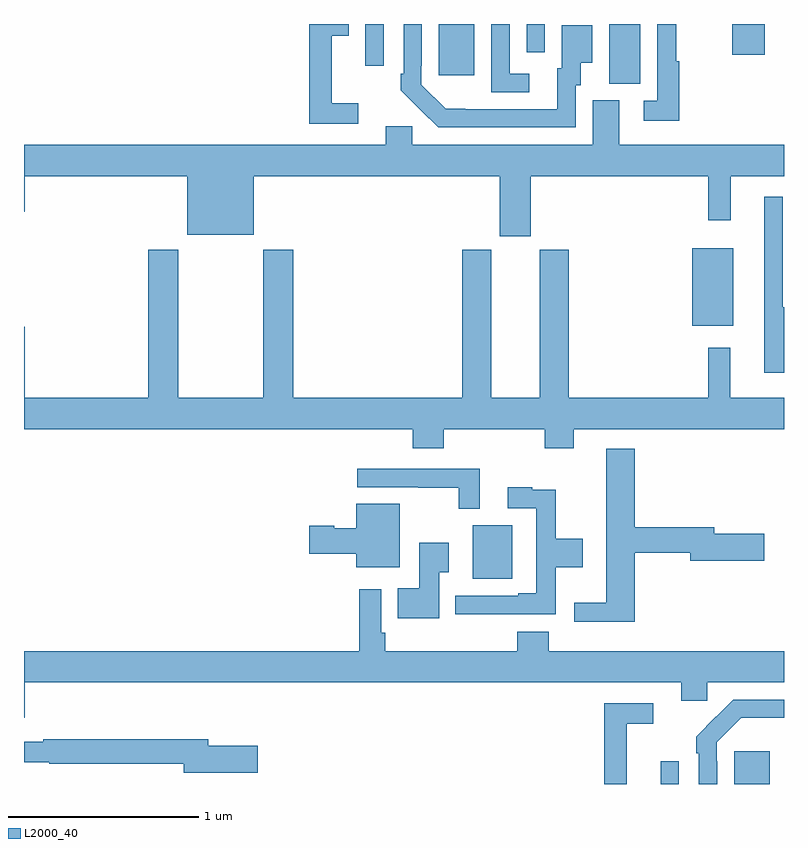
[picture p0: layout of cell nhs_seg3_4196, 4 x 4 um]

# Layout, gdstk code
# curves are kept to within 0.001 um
import gdstk
lib = gdstk.Library(unit=1e-6, precision=1e-09)
def R(c, l, rs):  # rectangles x0, y0, x1, y1
    for r in rs: c.add(gdstk.rectangle(r[:2], r[2:], *l))
def P(c, l, *ps):  # polygons
    for p in ps: c.add(gdstk.Polygon(p, *l))
L2000_40 = (2000, 40)

nhs_seg3_4196 = lib.new_cell('nhs_seg3_4196')
R(nhs_seg3_4196, L2000_40, [(336.351,680.4,336.447,680.521), (336.737,680.4,336.925,680.572), (335.363,681.479,335.569,681.763), (336.518,682.811,336.733,683.221), (336.08,684.085,336.244,684.4), (335.183,684.129,335.371,684.4), (334.797,684.18,334.893,684.4), (336.728,684.237,336.899,684.4), (335.646,684.252,335.742,684.4)])
P(nhs_seg3_4196, L2000_40, [(335.904,684.078),(335.929,684.078),(335.929,684.197),(335.992,684.197),(335.992,684.394),(335.831,684.394),(335.831,684.168),(335.807,684.168),(335.807,683.952),(335.22,683.953),(335.091,684.081),(335.091,684.181),(335.094,684.181),(335.094,684.4),(334.998,684.4),(334.998,684.139),(334.983,684.139),(334.983,684.051),(335.18,683.856),(335.904,683.856)],
  [(334.759,683.983),(334.619,683.983),(334.619,684.338),(334.708,684.338),(334.708,684.4),(334.501,684.4),(334.501,683.874),(334.759,683.874)],
  [(336.449,684.204),(336.434,684.204),(336.434,684.4),(336.333,684.4),(336.333,683.997),(336.261,683.997),(336.261,683.892),(336.449,683.892)],
  [(335.659,684.138),(335.556,684.138),(335.556,684.4),(335.46,684.4),(335.46,684.042),(335.659,684.042)],
  [(335.668,683.6),(336.601,683.6),(336.601,683.367),(336.719,683.367),(336.719,683.6),(337,683.6),(337,683.764),(336.133,683.764),(336.133,684),(335.993,684),(335.993,683.764),(335.043,683.764),(335.043,683.862),(334.904,683.862),(334.904,683.764),(333,683.764),(333,683.412),(333.004,683.412),(333.004,683.6),(333.86,683.6),(333.86,683.291),(334.21,683.291),(334.21,683.6),(335.504,683.6),(335.504,683.283),(335.668,683.283)],
  [(337,682.909),(336.993,682.909),(336.993,683.491),(336.896,683.491),(336.896,682.565),(337,682.565)],
  [(335.21,682.268),(335.741,682.268),(335.741,682.166),(335.893,682.166),(335.893,682.268),(337,682.268),(337,682.432),(336.718,682.432),(336.718,682.696),(336.601,682.696),(336.601,682.432),(335.867,682.432),(335.867,683.211),(335.714,683.211),(335.714,682.432),(335.458,682.432),(335.458,683.211),(335.306,683.211),(335.306,682.432),(334.418,682.432),(334.418,683.212),(334.258,683.212),(334.258,682.432),(333.813,682.432),(333.813,683.212),(333.653,683.212),(333.653,682.432),(333.004,682.432),(333.004,682.807),(333,682.807),(333,682.268),(335.045,682.268),(335.045,682.166),(335.21,682.166)],
  [(336.215,681.616),(336.506,681.616),(336.506,681.574),(336.895,681.574),(336.895,681.716),(336.634,681.716),(336.634,681.752),(336.215,681.752),(336.215,682.165),(336.065,682.165),(336.065,681.353),(335.895,681.353),(335.895,681.254),(336.215,681.254)],
  [(335.398,682.059),(334.755,682.059),(334.755,681.963),(335.074,681.963),(335.074,681.958),(335.289,681.958),(335.289,681.848),(335.398,681.848)],
  [(335.513,681.294),(335.798,681.294),(335.798,681.542),(335.941,681.542),(335.941,681.69),(335.798,681.69),(335.798,681.95),(335.675,681.95),(335.675,681.961),(335.547,681.961),(335.547,681.852),(335.697,681.852),(335.697,681.403),(335.6,681.403),(335.6,681.39),(335.271,681.39),(335.271,681.293),(335.513,681.293)],
  [(334.978,681.874),(334.748,681.874),(334.748,681.745),(334.632,681.745),(334.632,681.758),(334.5,681.758),(334.5,681.611),(334.748,681.611),(334.748,681.542),(334.978,681.542)],
  [(335.185,681.514),(335.236,681.514),(335.236,681.67),(335.081,681.67),(335.081,681.43),(334.966,681.43),(334.966,681.272),(335.185,681.272)],
  [(333.004,680.936),(336.458,680.936),(336.458,680.838),(336.597,680.838),(336.597,680.936),(337,680.936),(337,681.1),(335.762,681.1),(335.762,681.202),(335.597,681.202),(335.597,681.1),(334.901,681.1),(334.901,681.196),(334.881,681.196),(334.881,681.424),(334.765,681.424),(334.765,681.1),(333,681.1),(333,680.748),(333.004,680.748)],
  [(336.648,680.519),(336.645,680.519),(336.645,680.619),(336.774,680.748),(337,680.748),(337,680.844),(336.734,680.844),(336.537,680.649),(336.537,680.561),(336.552,680.561),(336.552,680.4),(336.648,680.4)],
  [(336.173,680.718),(336.313,680.718),(336.313,680.826),(336.055,680.826),(336.055,680.4),(336.173,680.4)],
  [(334.231,680.601),(333.97,680.601),(333.97,680.635),(333.1,680.635),(333.1,680.622),(333,680.622),(333,680.514),(333.134,680.514),(333.134,680.506),(333.842,680.506),(333.842,680.459),(334.231,680.459)])

lib.write_gds('nhs_seg3_4196.gds')
